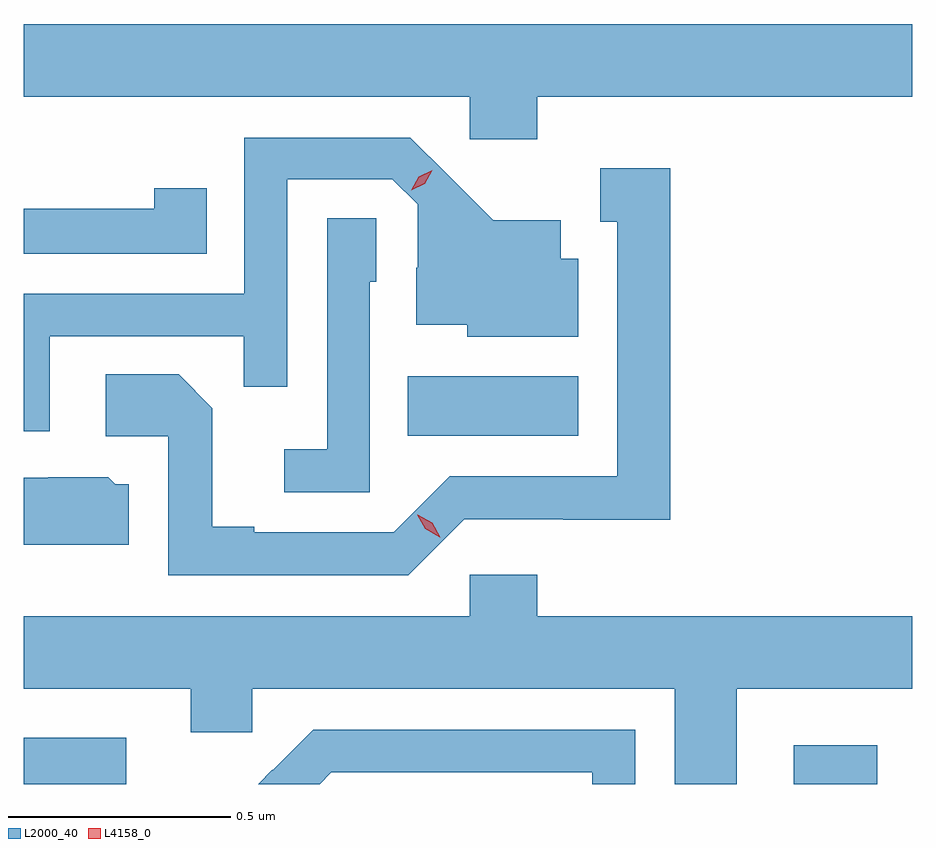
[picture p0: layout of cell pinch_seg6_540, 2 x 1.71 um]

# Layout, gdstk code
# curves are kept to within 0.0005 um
import gdstk
lib = gdstk.Library(unit=1e-6, precision=1e-09)
def R(c, l, rs):  # rectangles x0, y0, x1, y1
    for r in rs: c.add(gdstk.rectangle(r[:2], r[2:], *l))
def P(c, l, *ps):  # polygons
    for p in ps: c.add(gdstk.Polygon(p, *l))
L2000_40 = (2000, 40)
L4158_0 = (4158, 0)

pinch_seg6_540 = lib.new_cell('pinch_seg6_540')
R(pinch_seg6_540, L2000_40, [(790.072,947.122,790.303,947.226), (791.805,947.122,791.993,947.209), (790.936,947.906,791.32,948.04)])
P(pinch_seg6_540, L2000_40, [(791.228,948.668),(792.072,948.668),(792.072,948.832),(790.072,948.832),(790.072,948.668),(791.076,948.668),(791.076,948.573),(791.228,948.573)],
  [(790.131,948.129),(790.567,948.129),(790.567,948.016),(790.665,948.016),(790.665,948.483),(790.902,948.483),(790.959,948.426),(790.959,948.284),(790.955,948.284),(790.955,948.155),(791.07,948.155),(791.07,948.128),(791.32,948.128),(791.32,948.304),(791.281,948.304),(791.281,948.391),(791.129,948.391),(790.942,948.576),(790.569,948.576),(790.569,948.225),(790.072,948.225),(790.072,947.916),(790.131,947.916)],
  [(791.064,947.718),(791.286,947.718),(791.286,947.717),(791.527,947.717),(791.527,948.508),(791.369,948.508),(791.369,948.387),(791.408,948.387),(791.408,947.814),(791.031,947.814),(790.905,947.688),(790.591,947.688),(790.591,947.701),(790.497,947.701),(790.497,947.968),(790.421,948.044),(790.257,948.044),(790.257,947.904),(790.398,947.904),(790.398,947.592),(790.938,947.592)],
  [(790.484,948.463),(790.366,948.463),(790.366,948.416),(790.072,948.416),(790.072,948.315),(790.484,948.315)],
  [(790.851,948.252),(790.866,948.252),(790.866,948.395),(790.755,948.395),(790.755,947.875),(790.659,947.875),(790.659,947.778),(790.851,947.778)],
  [(790.309,947.796),(790.278,947.796),(790.262,947.812),(790.128,947.812),(790.128,947.811),(790.072,947.811),(790.072,947.66),(790.309,947.66)],
  [(791.677,947.336),(792.072,947.336),(792.072,947.5),(791.228,947.5),(791.228,947.593),(791.076,947.593),(791.076,947.5),(790.072,947.5),(790.072,947.336),(790.448,947.336),(790.448,947.238),(790.587,947.238),(790.587,947.336),(791.537,947.336),(791.537,947.122),(791.677,947.122)],
  [(790.764,947.148),(791.351,947.148),(791.351,947.122),(791.448,947.122),(791.448,947.244),(790.724,947.244),(790.633,947.153),(790.632,947.154),(790.6,947.122),(790.738,947.122)])
P(pinch_seg6_540, L4158_0, [(791.008,947.677),(790.976,947.696),(790.958,947.728),(790.958,947.728),(790.959,947.728),(790.991,947.71),(791.009,947.677),(791.009,947.677)],
  [(790.944,948.458),(790.944,948.458),(790.961,948.488),(790.991,948.503),(790.992,948.503),(790.992,948.503),(790.975,948.473),(790.944,948.458)])

lib.write_gds('pinch_seg6_540.gds')
